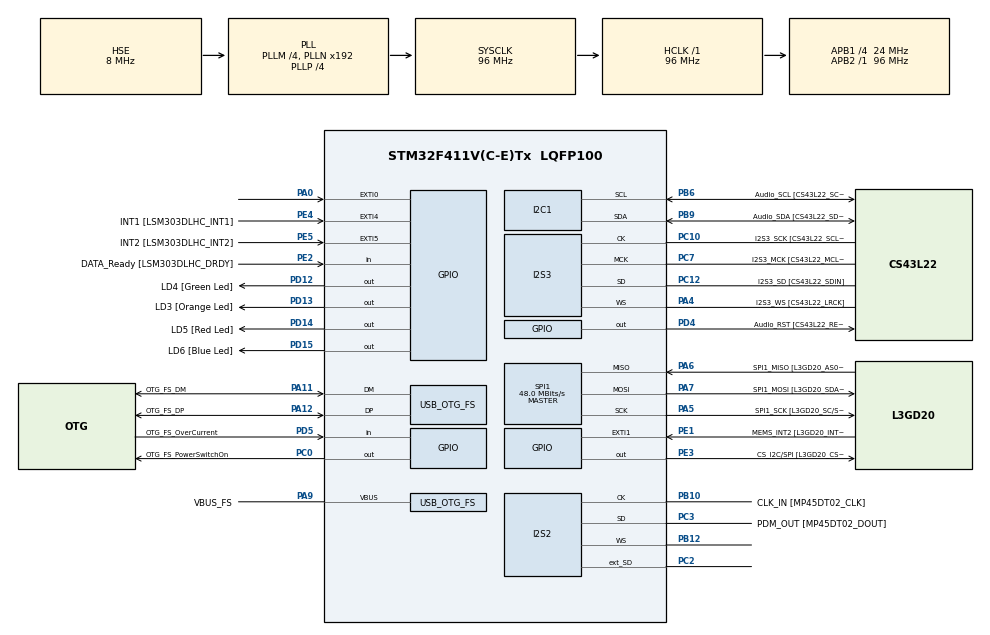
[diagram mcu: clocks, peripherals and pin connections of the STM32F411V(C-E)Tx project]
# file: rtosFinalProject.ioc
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FREERTOS.Tasks01=UsbCommTask,24,128,StartUsbCommTask,Default,NULL,Dynamic,NULL,NULL;ParkingManagerT,24,128,StartParkingManagerTask,Default,NULL,Dynamic,NULL,NULL;DisplayTask,32,128,StartDisplayTask,Default,NULL,Dynamic,NULL,NULL
I2S2.AudioFreq=I2S_AUDIOFREQ_96K
I2S2.ErrorAudioFreq=0.15 %
I2S2.FullDuplexMode=I2S_FULLDUPLEXMODE_ENABLE
I2S2.Instance=SPI$Index
I2S2.RealAudioFreq=96.153 KHz
I2S2.VirtualMode=I2S_MODE_MASTER
I2S3.AudioFreq=I2S_AUDIOFREQ_96K
I2S3.ErrorAudioFreq=-6.99 %
I2S3.FullDuplexMode=I2S_FULLDUPLEXMODE_DISABLE
I2S3.Instance=SPI$Index
I2S3.RealAudioFreq=89.285 KHz
I2S3.VirtualMode=I2S_MODE_MASTER
Mcu.Family=STM32F4
Mcu.Name=STM32F411V(C-E)Tx
Mcu.Package=LQFP100
NVIC.OTG_FS_IRQn=true\:5\:0\:false\:false\:true\:true\:true\:true\:true
NVIC.PriorityGroup=NVIC_PRIORITYGROUP_4
PA0-WKUP.GPIO_ModeDefaultEXTI=GPIO_MODE_EVT_RISING
PA0-WKUP.Signal=GPXTI0
PA10.GPIO_Label=OTG_FS_ID
PA10.Signal=USB_OTG_FS_ID
PA11.GPIO_Label=OTG_FS_DM
PA11.Mode=Device_Only
PA11.Signal=USB_OTG_FS_DM
PA12.GPIO_Label=OTG_FS_DP
PA12.Mode=Device_Only
PA12.Signal=USB_OTG_FS_DP
PA13.GPIO_Label=SWDIO
PA13.Mode=Trace_Asynchronous_SW
PA13.Signal=SYS_JTMS-SWDIO
PA14.GPIO_Label=SWCLK
PA14.Mode=Trace_Asynchronous_SW
PA14.Signal=SYS_JTCK-SWCLK
PA4.GPIO_Label=I2S3_WS [CS43L22_LRCK]
PA4.GPIO_Mode=GPIO_MODE_AF_PP
PA4.GPIO_PuPd=GPIO_NOPULL
PA4.GPIO_Speed=GPIO_SPEED_FREQ_LOW
PA4.Mode=Half_Duplex_Master
PA4.Signal=I2S3_WS
PA5.GPIO_Label=SPI1_SCK [L3GD20_SC/SPC]
PA5.Mode=Full_Duplex_Master
PA5.Signal=SPI1_SCK
PA6.GPIO_Label=SPI1_MISO [L3GD20_AS0/SDO]
PA6.Mode=Full_Duplex_Master
PA6.Signal=SPI1_MISO
PA7.GPIO_Label=SPI1_MOSI [L3GD20_SDA/SDI/SDO]
PA7.Mode=Full_Duplex_Master
PA7.Signal=SPI1_MOSI
PA9.GPIO_Label=VBUS_FS
PA9.Mode=Activate_VBUS
PA9.Signal=USB_OTG_FS_VBUS
PB10.GPIO_Label=CLK_IN [MP45DT02_CLK]
PB10.Mode=Full_Duplex_Master
PB10.Signal=I2S2_CK
PB12.Mode=Full_Duplex_Master
PB12.Signal=I2S2_WS
PB3.GPIO_Label=SWO
PB3.Mode=Trace_Asynchronous_SW
PB3.Signal=SYS_JTDO-SWO
PB6.GPIO_Label=Audio_SCL [CS43L22_SCL]
PB6.GPIO_Mode=GPIO_MODE_AF_OD
PB6.GPIO_Pu=GPIO_PULLUP
PB6.GPIO_PuPd=GPIO_NOPULL
PB6.GPIO_Speed=GPIO_SPEED_FREQ_LOW
PB6.Mode=I2C
PB6.Signal=I2C1_SCL
PB9.GPIO_Label=Audio_SDA [CS43L22_SDA]
PB9.GPIO_Mode=GPIO_MODE_AF_OD
PB9.GPIO_Pu=GPIO_PULLUP
PB9.GPIO_PuPd=GPIO_NOPULL
PB9.GPIO_Speed=GPIO_SPEED_FREQ_LOW
PB9.Mode=I2C
PB9.Signal=I2C1_SDA
PC0.GPIO_Label=OTG_FS_PowerSwitchOn
PC0.PinState=GPIO_PIN_SET
PC0.Signal=GPIO_Output
PC10.GPIO_Label=I2S3_SCK [CS43L22_SCLK]
PC10.GPIO_Mode=GPIO_MODE_AF_PP
PC10.GPIO_PuPd=GPIO_NOPULL
PC10.GPIO_Speed=GPIO_SPEED_FREQ_LOW
PC10.Mode=Half_Duplex_Master
PC10.Signal=I2S3_CK
PC12.GPIO_Label=I2S3_SD [CS43L22_SDIN]
PC12.GPIO_Mode=GPIO_MODE_AF_PP
PC12.GPIO_PuPd=GPIO_NOPULL
PC12.GPIO_Speed=GPIO_SPEED_FREQ_LOW
PC12.Mode=Half_Duplex_Master
PC12.Signal=I2S3_SD
PC14-OSC32_IN.GPIO_Label=PC14-OSC32_IN
PC14-OSC32_IN.Signal=RCC_OSC32_IN
PC15-OSC32_OUT.GPIO_Label=PC15-OSC32_OUT
PC15-OSC32_OUT.Signal=RCC_OSC32_OUT
PC2.Mode=Full_Duplex_Master
PC2.Signal=I2S2_ext_SD
PC3.GPIO_Label=PDM_OUT [MP45DT02_DOUT]
PC3.Mode=Full_Duplex_Master
PC3.Signal=I2S2_SD
PC7.GPIO_Label=I2S3_MCK [CS43L22_MCLK]
PC7.GPIO_Mode=GPIO_MODE_AF_PP
PC7.GPIO_PuPd=GPIO_NOPULL
PC7.GPIO_Speed=GPIO_SPEED_FREQ_LOW
PC7.Mode=Master_Clock_Activated
PC7.Signal=I2S3_MCK
PD12.GPIO_Label=LD4 [Green Led]
PD12.GPIO_PuPd=GPIO_NOPULL
PD12.GPIO_Speed=GPIO_SPEED_FREQ_LOW
PD12.Signal=GPIO_Output
PD13.GPIO_Label=LD3 [Orange Led]
PD13.GPIO_PuPd=GPIO_NOPULL
PD13.GPIO_Speed=GPIO_SPEED_FREQ_LOW
PD13.Signal=GPIO_Output
PD14.GPIO_Label=LD5 [Red Led]
PD14.GPIO_PuPd=GPIO_NOPULL
PD14.GPIO_Speed=GPIO_SPEED_FREQ_LOW
PD14.Signal=GPIO_Output
PD15.GPIO_Label=LD6 [Blue Led]
PD15.GPIO_PuPd=GPIO_NOPULL
PD15.GPIO_Speed=GPIO_SPEED_FREQ_LOW
PD15.Signal=GPIO_Output
PD4.GPIO_Label=Audio_RST [CS43L22_RESET]
PD4.Signal=GPIO_Output
PD5.GPIO_Label=OTG_FS_OverCurrent
PD5.Signal=GPIO_Input
PE1.GPIO_Label=MEMS_INT2 [L3GD20_INT2]
PE1.GPIO_ModeDefaultEXTI=GPIO_MODE_EVT_RISING
PE1.Signal=GPXTI1
PE2.GPIO_Label=DATA_Ready [LSM303DLHC_DRDY]
PE2.Signal=GPIO_Input
PE3.GPIO_Label=CS_I2C/SPI [L3GD20_CS_I2C/SPI]
PE3.Signal=GPIO_Output
PE4.GPIO_Label=INT1 [LSM303DLHC_INT1]
PE4.GPIO_ModeDefaultEXTI=GPIO_MODE_EVT_RISING
PE4.Signal=GPXTI4
PE5.GPIO_Label=INT2 [LSM303DLHC_INT2]
PE5.GPIO_ModeDefaultEXTI=GPIO_MODE_EVT_RISING
PE5.Signal=GPXTI5
PH0\ -\ OSC_IN.GPIO_Label=PH0-OSC_IN
PH0\ -\ OSC_IN.Mode=HSE-External-Oscillator
PH0\ -\ OSC_IN.Signal=RCC_OSC_IN
PH1\ -\ OSC_OUT.GPIO_Label=PH1-OSC_OUT
PH1\ -\ OSC_OUT.Mode=HSE-External-Oscillator
PH1\ -\ OSC_OUT.Signal=RCC_OSC_OUT
ProjectManager.HeapSize=0x200
ProjectManager.StackSize=0x400
ProjectManager.TargetToolchain=STM32CubeIDE
RCC.48MHZClocksFreq_Value=48000000
RCC.AHBFreq_Value=96000000
RCC.APB1CLKDivider=RCC_HCLK_DIV4
RCC.APB1Freq_Value=24000000
RCC.APB1TimFreq_Value=48000000
RCC.APB2Freq_Value=96000000
RCC.APB2TimFreq_Value=96000000
RCC.CortexFreq_Value=96000000
RCC.HCLKFreq_Value=96000000
RCC.HSE_VALUE=8000000
RCC.HSI_VALUE=16000000
RCC.LSE_VALUE=32768
RCC.PLLI2SM=5
RCC.PLLI2SN=200
RCC.PLLM=4
RCC.PLLP=RCC_PLLP_DIV4
RCC.PLLQ=8
RCC.SYSCLKFreq_VALUE=96000000
RCC.SYSCLKSource=RCC_SYSCLKSOURCE_PLLCLK
RCC.VCOOutputFreq_Value=384000000
SPI1.BaudRatePrescaler=SPI_BAUDRATEPRESCALER_2
SPI1.CalculateBaudRate=48.0 MBits/s
SPI1.Direction=SPI_DIRECTION_2LINES
SPI1.Mode=SPI_MODE_MASTER
SPI1.VirtualType=VM_MASTER
USB_DEVICE.CLASS_NAME_FS=CDC
USB_DEVICE.VirtualMode=Cdc
USB_DEVICE.VirtualModeFS=Cdc_FS
USB_OTG_FS.VirtualMode=Device_Only
VP_FREERTOS_VS_CMSIS_V2.Mode=CMSIS_V2
VP_USB_DEVICE_VS_USB_DEVICE_CDC_FS.Mode=CDC_FS
board=STM32F411E-DISCO

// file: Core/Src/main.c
#include "main.h"
#include "cmsis_os.h"
#include "usb_device.h"
#include <string.h>
#include <stdio.h>
#include "ssd1306.h"
#include "ssd1306_fonts.h"
#include "usbd_cdc_if.h"
#include "queue.h"
#include "semphr.h"

SemaphoreHandle_t oledMutex;
/* USER CODE BEGIN Includes */
#define TOTAL_SPOTS 15

typedef struct {
  char id[4];        // A1, B2 vs.
  uint8_t status;    // 0 boş, 1 rezerve
  uint16_t timeLeft; // dakika
  float price;       // fiyat (TL)
} ParkingSpot;

ParkingSpot spots[TOTAL_SPOTS];

typedef struct {
    char line1[22]; // OLED satır 1 (en fazla 21 karakter)
    char line2[22]; // OLED satır 2
    uint16_t duration_ms; // mesajı kaç ms boyunca gösterelim
} OledMessage;

QueueHandle_t oledQueue;
QueueHandle_t commandQueue;

// İstatistik değişkenleri
uint32_t totalReservations = 0;
uint32_t totalMinutesParked = 0;
uint32_t completedReservations = 0;
uint8_t occupiedSpots = 0;

char rxBuffer[64];
/* USER CODE END Includes */

/* USER CODE BEGIN PD */
// Gösterilecek sayı (örneğin boş yer sayısı)
uint8_t displayValue = 0;

/* USER CODE END PD */

I2C_HandleTypeDef hi2c1;

I2S_HandleTypeDef hi2s2;
I2S_HandleTypeDef hi2s3;

SPI_HandleTypeDef hspi1;

/* Definitions for UsbCommTask */
osThreadId_t UsbCommTaskHandle;
const osThreadAttr_t UsbCommTask_attributes = {
  .name = "UsbCommTask",
  .stack_size = 1024 * 4,
  .priority = (osPriority_t) osPriorityNormal,
};
/* Definitions for ParkingManagerT */
osThreadId_t ParkingManagerTHandle;
const osThreadAttr_t ParkingManagerT_attributes = {
  .name = "ParkingManagerT",
  .stack_size = 1024 * 4,
  .priority = (osPriority_t) osPriorityNormal,
};
/* Definitions for DisplayTask */
osThreadId_t DisplayTaskHandle;
const osThreadAttr_t DisplayTask_attributes = {
  .name = "DisplayTask",
  .stack_size = 1024 * 4,
  .priority = (osPriority_t) osPriorityAboveNormal,
};

void SystemClock_Config(void);
void PeriphCommonClock_Config(void);
static void MX_GPIO_Init(void);
static void MX_I2C1_Init(void);
static void MX_I2S2_Init(void);
static void MX_I2S3_Init(void);
static void MX_SPI1_Init(void);
void StartUsbCommTask(void *argument);
void StartParkingManagerTask(void *argument);
void StartDisplayTask(void *argument);

/* USER CODE BEGIN PFP */

extern uint8_t segmentCodes[10];
extern GPIO_TypeDef* segmentPorts[7];
extern uint16_t segmentPins[7];
extern GPIO_TypeDef* digitPorts[4];
extern uint16_t digitPins[4];

void segment_init(void);
void setSegment(uint8_t index, GPIO_PinState state);
void setDigit(uint8_t index, GPIO_PinState state);
void update7Segment(uint8_t val);
void segment_refresh_loop(uint8_t val);

/* USER CODE END PFP */

/* USER CODE BEGIN 0 */
void initParkingSpots() {
  int index = 0;
  for (char block = 'A'; block <= 'C'; block++) {
    for (int num = 1; num <= 5; num++) {
      sprintf(spots[index].id, "%c%d", block, num);
      spots[index].status = 0;
      spots[index].timeLeft = 0;
      spots[index].price = 0.0;
      index++;
    }
  }
}
/* USER CODE END 0 */

int main(void)
{

  /* USER CODE END 1 */

  /* MCU Configuration--------------------------------------------------------*/

  /* Reset of all peripherals, Initializes the Flash interface and the Systick. */
  HAL_Init();
  /* USER CODE END Init */

  /* Configure the system clock */
  SystemClock_Config();

  /* Configure the peripherals common clocks */
  PeriphCommonClock_Config();

  /* Initialize all configured peripherals */
  MX_GPIO_Init();
  MX_I2C1_Init();
  MX_I2S2_Init();
  MX_I2S3_Init();
  MX_SPI1_Init();

  /* Init scheduler */
  osKernelInitialize();

  /* USER CODE BEGIN RTOS_MUTEX */
  /* add mutexes, ... */
  oledMutex = xSemaphoreCreateMutex();
  if (oledMutex == NULL) {
      Error_Handler();
  }

  commandQueue = xQueueCreate(20, sizeof(char[64]));
  if (commandQueue == NULL) {
	  Error_Handler();
  }

  oledQueue = xQueueCreate(20, sizeof(OledMessage));
  if (oledQueue == NULL) {
      Error_Handler();
  }
  /* USER CODE END RTOS_MUTEX */

  /* USER CODE BEGIN RTOS_QUEUES */

  initParkingSpots();
  /* USER CODE END RTOS_QUEUES */

  /* Create the thread(s) */
  /* creation of UsbCommTask */
  UsbCommTaskHandle = osThreadNew(StartUsbCommTask, NULL, &UsbCommTask_attributes);

  /* creation of ParkingManagerT */
  ParkingManagerTHandle = osThreadNew(StartParkingManagerTask, NULL, &ParkingManagerT_attributes);

  /* creation of DisplayTask */
  DisplayTaskHandle = osThreadNew(StartDisplayTask, NULL, &DisplayTask_attributes);

  OledMessage testMsg = { "Test", "Calisiyor", 3000 };
  xQueueSend(oledQueue, &testMsg, 0);

  /* Start scheduler */
  osKernelStart();
  HAL_GPIO_WritePin(GPIOD, LD5_Pin, GPIO_PIN_SET); // KIRMIZI LED

  /* We should never get here as control is now taken by the scheduler */

  /* Infinite loop */
  while (1)
  {

  }
}

void SystemClock_Config(void)
{
  RCC_OscInitTypeDef RCC_OscInitStruct = {0};
  RCC_ClkInitTypeDef RCC_ClkInitStruct = {0};

  /** Configure the main internal regulator output voltage
  */
  __HAL_RCC_PWR_CLK_ENABLE();
  __HAL_PWR_VOLTAGESCALING_CONFIG(PWR_REGULATOR_VOLTAGE_SCALE1);

  /** Initializes the RCC Oscillators according to the specified parameters
  * in the RCC_OscInitTypeDef structure.
  */
  RCC_OscInitStruct.OscillatorType = RCC_OSCILLATORTYPE_HSE;
  RCC_OscInitStruct.HSEState = RCC_HSE_ON;
  RCC_OscInitStruct.PLL.PLLState = RCC_PLL_ON;
  RCC_OscInitStruct.PLL.PLLSource = RCC_PLLSOURCE_HSE;
  RCC_OscInitStruct.PLL.PLLM = 4;
  RCC_OscInitStruct.PLL.PLLN = 192;
  RCC_OscInitStruct.PLL.PLLP = RCC_PLLP_DIV4;
  RCC_OscInitStruct.PLL.PLLQ = 8;
  if (HAL_RCC_OscConfig(&RCC_OscInitStruct) != HAL_OK)
  {
    Error_Handler();
  }

  /** Initializes the CPU, AHB and APB buses clocks
  */
  RCC_ClkInitStruct.ClockType = RCC_CLOCKTYPE_HCLK|RCC_CLOCKTYPE_SYSCLK
                              |RCC_CLOCKTYPE_PCLK1|RCC_CLOCKTYPE_PCLK2;
  RCC_ClkInitStruct.SYSCLKSource = RCC_SYSCLKSOURCE_PLLCLK;
  RCC_ClkInitStruct.AHBCLKDivider = RCC_SYSCLK_DIV1;
  RCC_ClkInitStruct.APB1CLKDivider = RCC_HCLK_DIV4;
  RCC_ClkInitStruct.APB2CLKDivider = RCC_HCLK_DIV1;

  if (HAL_RCC_ClockConfig(&RCC_ClkInitStruct, FLASH_LATENCY_3) != HAL_OK)
  {
    Error_Handler();
  }
}

void PeriphCommonClock_Config(void)
{
  RCC_PeriphCLKInitTypeDef PeriphClkInitStruct = {0};

  /** Initializes the peripherals clock
  */
  PeriphClkInitStruct.PeriphClockSelection = RCC_PERIPHCLK_I2S;
  PeriphClkInitStruct.PLLI2S.PLLI2SN = 200;
  PeriphClkInitStruct.PLLI2S.PLLI2SM = 5;
  PeriphClkInitStruct.PLLI2S.PLLI2SR = 2;
  if (HAL_RCCEx_PeriphCLKConfig(&PeriphClkInitStruct) != HAL_OK)
  {
    Error_Handler();
  }
}

static void MX_I2C1_Init(void)
{

  hi2c1.Instance = I2C1;
  hi2c1.Init.ClockSpeed = 100000;
  hi2c1.Init.DutyCycle = I2C_DUTYCYCLE_2;
  hi2c1.Init.OwnAddress1 = 0;
  hi2c1.Init.AddressingMode = I2C_ADDRESSINGMODE_7BIT;
  hi2c1.Init.DualAddressMode = I2C_DUALADDRESS_DISABLE;
  hi2c1.Init.OwnAddress2 = 0;
  hi2c1.Init.GeneralCallMode = I2C_GENERALCALL_DISABLE;
  hi2c1.Init.NoStretchMode = I2C_NOSTRETCH_DISABLE;
  if (HAL_I2C_Init(&hi2c1) != HAL_OK)
  {
    Error_Handler();
  }

}

static void MX_I2S2_Init(void)
{

  hi2s2.Instance = SPI2;
  hi2s2.Init.Mode = I2S_MODE_MASTER_TX;
  hi2s2.Init.Standard = I2S_STANDARD_PHILIPS;
  hi2s2.Init.DataFormat = I2S_DATAFORMAT_16B;
  hi2s2.Init.MCLKOutput = I2S_MCLKOUTPUT_DISABLE;
  hi2s2.Init.AudioFreq = I2S_AUDIOFREQ_96K;
  hi2s2.Init.CPOL = I2S_CPOL_LOW;
  hi2s2.Init.ClockSource = I2S_CLOCK_PLL;
  hi2s2.Init.FullDuplexMode = I2S_FULLDUPLEXMODE_ENABLE;
  if (HAL_I2S_Init(&hi2s2) != HAL_OK)
  {
    Error_Handler();
  }

}

static void MX_I2S3_Init(void)
{

  hi2s3.Instance = SPI3;
  hi2s3.Init.Mode = I2S_MODE_MASTER_TX;
  hi2s3.Init.Standard = I2S_STANDARD_PHILIPS;
  hi2s3.Init.DataFormat = I2S_DATAFORMAT_16B;
  hi2s3.Init.MCLKOutput = I2S_MCLKOUTPUT_ENABLE;
  hi2s3.Init.AudioFreq = I2S_AUDIOFREQ_96K;
  hi2s3.Init.CPOL = I2S_CPOL_LOW;
  hi2s3.Init.ClockSource = I2S_CLOCK_PLL;
  hi2s3.Init.FullDuplexMode = I2S_FULLDUPLEXMODE_DISABLE;
  if (HAL_I2S_Init(&hi2s3) != HAL_OK)
  {
    Error_Handler();
  }

}

static void MX_SPI1_Init(void)
{

  /* SPI1 parameter configuration*/
  hspi1.Instance = SPI1;
  hspi1.Init.Mode = SPI_MODE_MASTER;
  hspi1.Init.Direction = SPI_DIRECTION_2LINES;
  hspi1.Init.DataSize = SPI_DATASIZE_8BIT;
  hspi1.Init.CLKPolarity = SPI_POLARITY_LOW;
  hspi1.Init.CLKPhase = SPI_PHASE_1EDGE;
  hspi1.Init.NSS = SPI_NSS_SOFT;
  hspi1.Init.BaudRatePrescaler = SPI_BAUDRATEPRESCALER_2;
  hspi1.Init.FirstBit = SPI_FIRSTBIT_MSB;
  hspi1.Init.TIMode = SPI_TIMODE_DISABLE;
  hspi1.Init.CRCCalculation = SPI_CRCCALCULATION_DISABLE;
  hspi1.Init.CRCPolynomial = 10;
  if (HAL_SPI_Init(&hspi1) != HAL_OK)
  {
    Error_Handler();
  }

}

static void MX_GPIO_Init(void)
{
  GPIO_InitTypeDef GPIO_InitStruct = {0};

  /* GPIO Ports Clock Enable */
  __HAL_RCC_GPIOE_CLK_ENABLE();
  __HAL_RCC_GPIOC_CLK_ENABLE();
  __HAL_RCC_GPIOH_CLK_ENABLE();
  __HAL_RCC_GPIOA_CLK_ENABLE();
  __HAL_RCC_GPIOB_CLK_ENABLE();
  __HAL_RCC_GPIOD_CLK_ENABLE();

  /*Configure GPIO pin Output Level */
  HAL_GPIO_WritePin(CS_I2C_SPI_GPIO_Port, CS_I2C_SPI_Pin, GPIO_PIN_RESET);

  /*Configure GPIO pin Output Level */
  HAL_GPIO_WritePin(OTG_FS_PowerSwitchOn_GPIO_Port, OTG_FS_PowerSwitchOn_Pin, GPIO_PIN_SET);

  /*Configure GPIO pin Output Level */
  HAL_GPIO_WritePin(GPIOD, LD4_Pin|LD3_Pin|LD5_Pin|LD6_Pin
                          |Audio_RST_Pin, GPIO_PIN_RESET);

  /*Configure GPIO pin : DATA_Ready_Pin */
  GPIO_InitStruct.Pin = DATA_Ready_Pin;
  GPIO_InitStruct.Mode = GPIO_MODE_INPUT;
  GPIO_InitStruct.Pull = GPIO_NOPULL;
  HAL_GPIO_Init(DATA_Ready_GPIO_Port, &GPIO_InitStruct);

  /*Configure GPIO pin : CS_I2C_SPI_Pin */
  GPIO_InitStruct.Pin = CS_I2C_SPI_Pin;
  GPIO_InitStruct.Mode = GPIO_MODE_OUTPUT_PP;
  GPIO_InitStruct.Pull = GPIO_NOPULL;
  GPIO_InitStruct.Speed = GPIO_SPEED_FREQ_LOW;
  HAL_GPIO_Init(CS_I2C_SPI_GPIO_Port, &GPIO_InitStruct);

  /*Configure GPIO pins : INT1_Pin INT2_Pin MEMS_INT2_Pin */
  GPIO_InitStruct.Pin = INT1_Pin|INT2_Pin|MEMS_INT2_Pin;
  GPIO_InitStruct.Mode = GPIO_MODE_EVT_RISING;
  GPIO_InitStruct.Pull = GPIO_NOPULL;
  HAL_GPIO_Init(GPIOE, &GPIO_InitStruct);

  /*Configure GPIO pin : OTG_FS_PowerSwitchOn_Pin */
  GPIO_InitStruct.Pin = OTG_FS_PowerSwitchOn_Pin;
  GPIO_InitStruct.Mode = GPIO_MODE_OUTPUT_PP;
  GPIO_InitStruct.Pull = GPIO_NOPULL;
  GPIO_InitStruct.Speed = GPIO_SPEED_FREQ_LOW;
  HAL_GPIO_Init(OTG_FS_PowerSwitchOn_GPIO_Port, &GPIO_InitStruct);

  /*Configure GPIO pin : PA0 */
  GPIO_InitStruct.Pin = GPIO_PIN_0;
  GPIO_InitStruct.Mode = GPIO_MODE_EVT_RISING;
  GPIO_InitStruct.Pull = GPIO_NOPULL;
  HAL_GPIO_Init(GPIOA, &GPIO_InitStruct);

  /*Configure GPIO pins : LD4_Pin LD3_Pin LD5_Pin LD6_Pin
                           Audio_RST_Pin */
  GPIO_InitStruct.Pin = LD4_Pin|LD3_Pin|LD5_Pin|LD6_Pin
                          |Audio_RST_Pin;
  GPIO_InitStruct.Mode = GPIO_MODE_OUTPUT_PP;
  GPIO_InitStruct.Pull = GPIO_NOPULL;
  GPIO_InitStruct.Speed = GPIO_SPEED_FREQ_LOW;
  HAL_GPIO_Init(GPIOD, &GPIO_InitStruct);

  /*Configure GPIO pin : OTG_FS_OverCurrent_Pin */
  GPIO_InitStruct.Pin = OTG_FS_OverCurrent_Pin;
  GPIO_InitStruct.Mode = GPIO_MODE_INPUT;
  GPIO_InitStruct.Pull = GPIO_NOPULL;
  HAL_GPIO_Init(OTG_FS_OverCurrent_GPIO_Port, &GPIO_InitStruct);

}

uint8_t commandReady = 0;

void StartUsbCommTask(void *argument) {
  MX_USB_DEVICE_Init();
  while (1) {
	  if (commandReady) {
	      commandReady = 0;

	      OledMessage msg;
	      snprintf(msg.line1, sizeof(msg.line1), "USB OK");
	      snprintf(msg.line2, sizeof(msg.line2), "Komut Alindi");
	      msg.duration_ms = 2000;
	      xQueueSend(oledQueue, &msg, 0);

	      char temp[64];
	      strcpy(temp, rxBuffer);

	      // Queue'ya gönder
	      xQueueSend(commandQueue, &temp, pdMS_TO_TICKS(100));
	  }
    osDelay(10);
  }
}

void StartParkingManagerTask(void *argument) {
    char cmd[64];
    TickType_t lastCheck = xTaskGetTickCount();
    TickType_t lastStatsUpdate = xTaskGetTickCount();
    uint8_t reminderSent[TOTAL_SPOTS] = {0};

    while (1) {
        // Queue'dan komut bekle
        if (xQueueReceive(commandQueue, &cmd, pdMS_TO_TICKS(100)) == pdPASS) {

            if (strncmp(cmd, "RESERVE", 7) == 0) {
                char spot[4] = {0};
                int duration = 0;
                float price = 0.0;

                int parsed = sscanf(cmd, "RESERVE;%3[^;];%d;%f", spot, &duration, &price);
                if (parsed >= 2) {  // En az spot ve duration bilgisi varsa
                    spot[strcspn(spot, "\r\n")] = 0;
                    spot[3] = '\0';

                    for (int i = 0; i < TOTAL_SPOTS; i++) {
                        if (strcmp(spots[i].id, spot) == 0) {
                            spots[i].status = 1;
                            spots[i].timeLeft = duration;

                            // Fiyat bilgisi varsa kaydet
                            if (parsed == 3) {
                                spots[i].price = price;
                            }

                            // İstatistikleri güncelle
                            totalReservations++;
                            occupiedSpots++;

                            OledMessage reserveMsg;
                            snprintf(reserveMsg.line1, sizeof(reserveMsg.line1), "Rezerve: %s", spots[i].id);

                            if (parsed == 3) {
                                snprintf(reserveMsg.line2, sizeof(reserveMsg.line2), "%d dk, %.1f TL", duration, price);
                            } else {
                                snprintf(reserveMsg.line2, sizeof(reserveMsg.line2), "Sure: %d dk", duration);
                            }

                            reserveMsg.duration_ms = 3000;
                            xQueueSend(oledQueue, &reserveMsg, pdMS_TO_TICKS(100));

                            reminderSent[i] = 0; // Hatırlatma sıfırla
                            break;
                        }
                    }
                }
                else {
                    OledMessage err;
                    snprintf(err.line1, sizeof(err.line1), "Komut hatali");
                    snprintf(err.line2, sizeof(err.line2), "%.20s", cmd);
                    err.duration_ms = 3000;
                    xQueueSend(oledQueue, &err, pdMS_TO_TICKS(100));
                }
            }
            else if (strncmp(cmd, "CANCEL", 6) == 0) {
                char spot[4] = {0};
                sscanf(cmd, "CANCEL;%3s", spot);
                spot[strcspn(spot, "\r\n")] = 0;

                for (int i = 0; i < TOTAL_SPOTS; i++) {
                    if (strcmp(spots[i].id, spot) == 0 && spots[i].status == 1) {
                        uint16_t kalanSure = spots[i].timeLeft;
                        float spotPrice = spots[i].price;

                        // İstatistikleri güncelle
                        occupiedSpots--;
                        totalMinutesParked += (duration - kalanSure);
                        completedReservations++;

                        spots[i].status = 0;
                        spots[i].timeLeft = 0;
                        spots[i].price = 0.0;

                        OledMessage cancelMsg;
                        snprintf(cancelMsg.line1, sizeof(cancelMsg.line1), "Iptal: %s", spots[i].id);
                        snprintf(cancelMsg.line2, sizeof(cancelMsg.line2), "Kalan: %d dk", kalanSure);
                        cancelMsg.duration_ms = 3000;
                        xQueueSend(oledQueue, &cancelMsg, pdMS_TO_TICKS(100));

                        char usbMsg[64];
                        snprintf(usbMsg, sizeof(usbMsg), "EXPIRED;%s\r\n", spots[i].id);
                        CDC_Transmit_FS((uint8_t*)usbMsg, strlen(usbMsg));
                        break;
                    }
                }
            }
            else if (strncmp(cmd, "GET_STATS", 9) == 0) {
                // İstatistikleri gönder
                char statsMsg[128];
                float avgDuration = 0;

                if (completedReservations > 0) {
                    avgDuration = (float)totalMinutesParked / completedReservations;
                }

                snprintf(statsMsg, sizeof(statsMsg),
                         "STATS;TOTAL_RESERVATIONS:%lu;COMPLETED:%lu;AVG_DURATION:%.1f;OCCUPIED:%d\r\n",
                         totalReservations, completedReservations, avgDuration, occupiedSpots);

                CDC_Transmit_FS((uint8_t*)statsMsg, strlen(statsMsg));

                // OLED'e de göster
                OledMessage statsOledMsg;
                snprintf(statsOledMsg.line1, sizeof(statsOledMsg.line1), "Stats sent");
                snprintf(statsOledMsg.line2, sizeof(statsOledMsg.line2), "Total Res: %lu", totalReservations);
                statsOledMsg.duration_ms = 2000;
                xQueueSend(oledQueue, &statsOledMsg, pdMS_TO_TICKS(100));
            }
        }

        TickType_t now = xTaskGetTickCount();

        // Dakikalık kontrol - süre azaltma
        if ((now - lastCheck) >= pdMS_TO_TICKS(60000)) {
            lastCheck = now;

            HAL_GPIO_TogglePin(GPIOD, LD3_Pin);

            for (int i = 0; i < TOTAL_SPOTS; i++) {
                if (spots[i].status == 1 && spots[i].timeLeft > 0) {
                    spots[i].timeLeft--;

                    // Sürenin %80'i geçmiş ama hatırlatma gönderilmemişse
                    uint16_t reminderThreshold = spots[i].timeLeft / 5; // Kalan sürenin 1/5'i (yani %20)
                    if (reminderThreshold <= 2 && !reminderSent[i]) {
                        reminderSent[i] = 1;

                        // Reminder bilgisini gönder
                        char reminderMsg[64];
                        snprintf(reminderMsg, sizeof(reminderMsg), "REMINDER;%s;%d\r\n",
                                 spots[i].id, spots[i].timeLeft);
                        CDC_Transmit_FS((uint8_t*)reminderMsg, strlen(reminderMsg));

                        // OLED'e de göster
                        OledMessage reminderOledMsg;
                        snprintf(reminderOledMsg.line1, sizeof(reminderOledMsg.line1), "%s hatirlatma", spots[i].id);
                        snprintf(reminderOledMsg.line2, sizeof(reminderOledMsg.line2), "Kalan: %d dk", spots[i].timeLeft);
                        reminderOledMsg.duration_ms = 3000;
                        xQueueSend(oledQueue, &reminderOledMsg, pdMS_TO_TICKS(100));
                    }

                    if (spots[i].timeLeft == 0) {
                        // İstatistikleri güncelle
                        totalMinutesParked += spots[i].timeLeft;
                        completedReservations++;
                        occupiedSpots--;

                        spots[i].status = 0;

                        OledMessage expiredMsg;
                        snprintf(expiredMsg.line1, sizeof(expiredMsg.line1), "Sure bitti!");
                        snprintf(expiredMsg.line2, sizeof(expiredMsg.line2), "%s bos", spots[i].id);
                        expiredMsg.duration_ms = 3000;
                        xQueueSend(oledQueue, &expiredMsg, pdMS_TO_TICKS(100));

                        char usbMsg[64];
                        snprintf(usbMsg, sizeof(usbMsg), "EXPIRED;%s\r\n", spots[i].id);
                        CDC_Transmit_FS((uint8_t*)usbMsg, strlen(usbMsg));
                    }
                }
            }
        }

        // 30 Saniye aralıklarla istatistik güncelleme
        if ((now - lastStatsUpdate) >= pdMS_TO_TICKS(30000)) {
            lastStatsUpdate = now;

            // Boş park yeri sayısını say
            uint8_t emptyCount = 0;
            for (int i = 0; i < TOTAL_SPOTS; i++) {
                if (spots[i].status == 0) {
                    emptyCount++;
                }
            }

            // 7-segment display için
            displayValue = emptyCount;

            // İstatistik bilgilerini OLED'e göster
            OledMessage statsMsg;
            snprintf(statsMsg.line1, sizeof(statsMsg.line1), "Bos: %d / Dolu: %d",
                     emptyCount, TOTAL_SPOTS - emptyCount);
            snprintf(statsMsg.line2, sizeof(statsMsg.line2), "Toplam Rez: %lu", totalReservations);
            statsMsg.duration_ms = 3000;
            xQueueSend(oledQueue, &statsMsg, pdMS_TO_TICKS(100));
        }

        vTaskDelay(1);
    }
}

void StartDisplayTask(void *argument) {
	ssd1306_Init();

    TickType_t xLastWakeTime = xTaskGetTickCount();
    const TickType_t xFrequency = pdMS_TO_TICKS(1000);

    OledMessage msg;
    uint32_t msgEndTime = 0;

    while (1) {
        // Yeni mesaj varsa al
        if (xQueueReceive(oledQueue, &msg, 0) == pdPASS) {
            if (xSemaphoreTake(oledMutex, pdMS_TO_TICKS(100)) == pdTRUE) {
                ssd1306_Fill(Black);
                ssd1306_SetCursor(0, 0);
                ssd1306_WriteString(msg.line1, Font_7x10, White);
                ssd1306_SetCursor(0, 16);
                ssd1306_WriteString(msg.line2, Font_7x10, White);
                ssd1306_UpdateScreen();
                xSemaphoreGive(oledMutex);
                msgEndTime = HAL_GetTick() + msg.duration_ms;
            }
        }

        // Süre dolduysa ekranı temizle
        if (msgEndTime > 0 && HAL_GetTick() > msgEndTime) {
            if (xSemaphoreTake(oledMutex, pdMS_TO_TICKS(100)) == pdTRUE) {
                ssd1306_Fill(Black);
                ssd1306_UpdateScreen();
                xSemaphoreGive(oledMutex);
                msgEndTime = 0;
            }
        }
        vTaskDelayUntil(&xLastWakeTime, xFrequency);
    }
}

void Error_Handler(void)
{
  __disable_irq();
  while (1)
  {
  }
}
